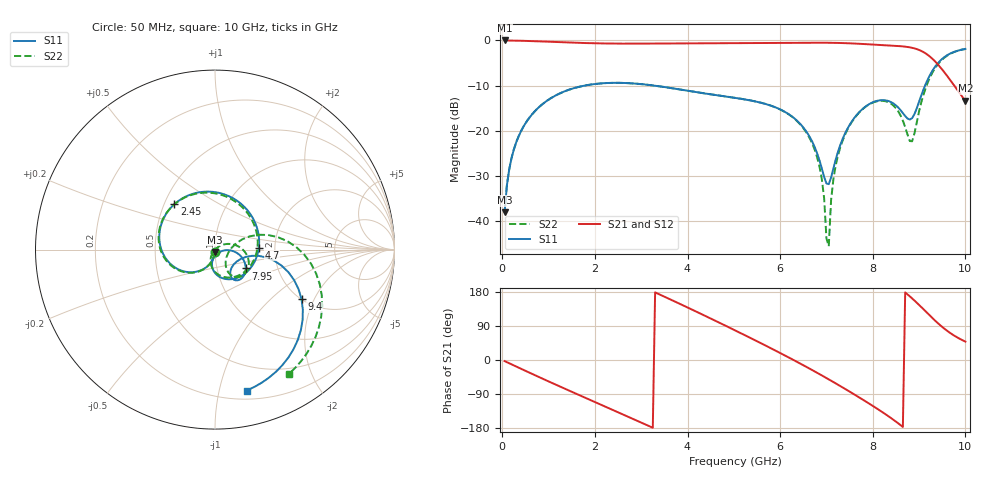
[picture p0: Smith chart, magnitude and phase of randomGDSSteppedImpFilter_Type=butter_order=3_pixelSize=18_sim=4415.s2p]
! freq	dB(S11)	phase(S11)	dB(S12)	phase(S12)
!  dB(S21)	phase(S21)	dB(S22)	phase(S22)
!S-par simulation data
#  GHz  S  DB  R 50
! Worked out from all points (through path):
!   200 points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, 50 MHz to 10 GHz, reference 50 ohm
!   highest |S21| = 0.00 dB at 50 MHz (marker M1); lowest = -13.4 dB at 10 GHz (marker M2)
!   group delay of S21, straight-line fit = 179 ps
!   lowest |S11| = -38.0 dB at 50 MHz (marker M3), VSWR 1.03, Z = 49.9 - j1.25 ohm
!   |S11| at or under -10 dB: start of sweep to 1.779 GHz; 3.279 GHz to 9.129 GHz (5.851 GHz wide, 94.3 % of centre)
!   |S22| runs from -45.6 to -1.9 dB; largest |S21 - S12| = 0
!   S11 on the Smith chart (normalised r, x): 50 MHz: 1.00, -0.03; 2.45 GHz: 0.56, +0.32; 4.7 GHz: 1.65, +0.04; 7.95 GHz: 1.38, -0.30; 9.4 GHz: 2.01, -1.60; 10 GHz: 0.27, -1.21
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0.05  -38.03 -92.7  -0.00 -2.9  -0.00 -2.9  -38.03 -92.6
0.2  -26.04 -101.8  -0.03 -11.5  -0.03 -11.5  -26.04 -101.5
0.5  -18.36 -119.3  -0.10 -28.6  -0.10 -28.6  -18.36 -118.5
1.15  -12.20 -156.5  -0.35 -64.8  -0.35 -64.8  -12.20 -154.6
1.75  -10.06 170.4  -0.57 -97.3  -0.57 -97.3  -10.06 173.5
2.45  -9.39 131.9  -0.70 -134.9  -0.70 -134.9  -9.39 136.9
3.4  -10.17 78.3  -0.68 172.8  -0.68 172.8  -10.17 86.6
4.7  -12.24 2.6  -0.60 97.7  -0.60 97.7  -12.23 14.1
5.05  -12.76 -17.6  -0.59 76.8  -0.59 76.8  -12.75 -6.5
5.95  -15.04 -68.4  -0.55 21.6  -0.55 21.6  -15.05 -61.7
6.7  -22.57 -102.8  -0.50 -27.1  -0.50 -27.1  -23.01 -110.7
6.9  -28.36 -94.0  -0.50 -40.7  -0.50 -40.7  -30.75 -124.4
7  -31.68 -65.6  -0.51 -47.6  -0.51 -47.6  -43.89 -131.4
7.05  -31.84 -43.2  -0.51 -51.1  -0.51 -51.1  -45.57 45.4
7.15  -28.34 -12.5  -0.53 -58.2  -0.53 -58.2  -30.70 38.3
7.3  -23.11 -2.4  -0.57 -68.9  -0.57 -68.9  -23.64 27.6
7.95  -13.95 -31.4  -0.88 -117.2  -0.88 -117.2  -14.01 -19.3
8.35  -13.46 -53.7  -1.11 -149.4  -1.11 -149.4  -13.75 -47.6
8.85  -17.21 -28.8  -1.63 162.5  -1.63 162.5  -22.33 -12.4
9.15  -9.48 -10.7  -2.93 127.2  -2.93 127.2  -10.31 15.5
9.4  -5.11 -29.8  -5.24 97.8  -5.24 97.8  -5.35 -8.3
10  -1.89 -77.3  -13.37 48.5  -13.37 48.5  -1.87 -59.3
